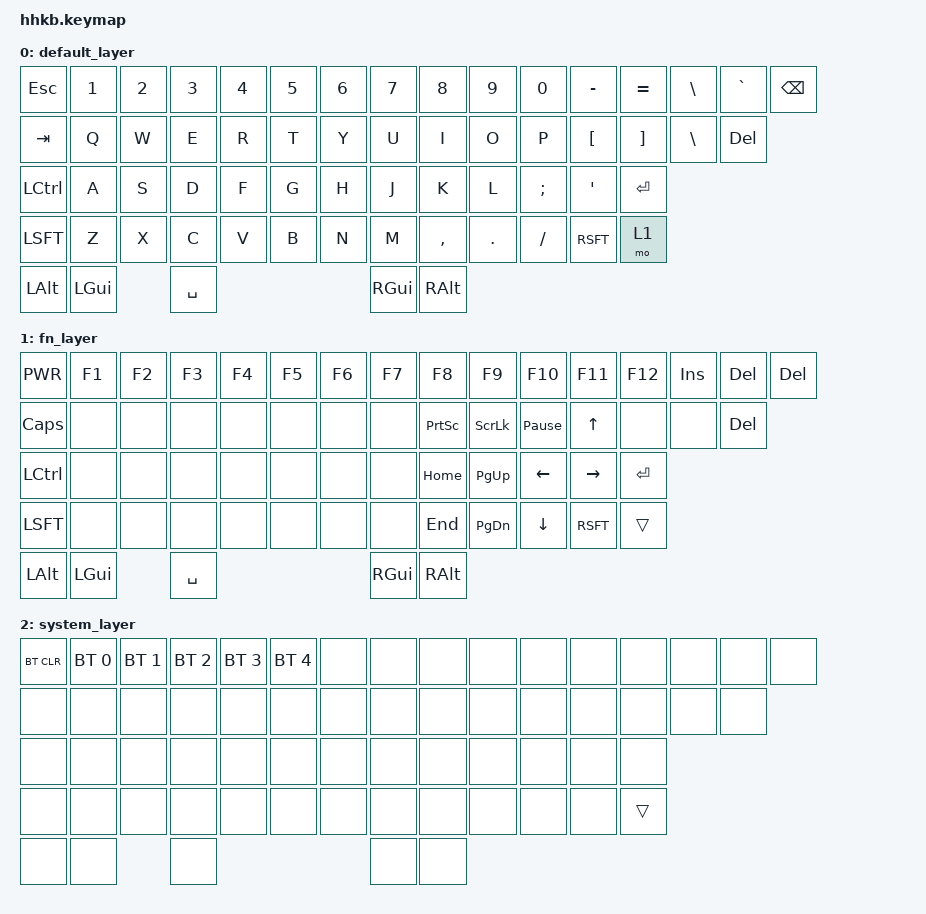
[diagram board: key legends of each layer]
/*
 * SPDX-License-Identifier: MIT
 *
 * HHKB Professional 2 / Professional BT 标准配列
 *
 * 物理布局（5行 x 15列，不含空格行）：
 *
 *  Row 0: Esc  1    2    3    4    5    6    7    8    9    0    -    =    \    `~   Del
 *         (Power)(F1) (F2) (F3) (F4) (F5) (F6) (F7) (F8) (F9) (F10)(F11)(F12)(Ins)
 *
 *  Row 1: Tab  Q    W    E    R    T    Y    U    I    O    P    [    ]    \    Del
 *         (Caps)                                      (PSc) (Scr) (Pau) (BS/Clear)
 *
 *  Row 2: Ctl  A    S    D    F    G    H    J    K    L    ;    '    Return
 *         (VolOn)(VolUp)(Mute)(Eject)                (*) (/)  (Home)(PgUp)
 *
 *  Row 3: Sft  Z    X    C    V    B    N    M    ,    .    /    Sft  Fn
 *                                             (<) (>) (?)      (End)(PgDn)(Stop)
 *
 *  Row 4: Alt  Cmd        Space         Cmd  Alt
 *         (Opt) (◆)      (6.25u)       (◆)  (Opt/Stop)
 *
 * 标注说明：
 *   - HHKB 左上角 Esc 同时是 Power 键
 *   - Tab 键帽上印了 Caps 字样（表示 HHKB 的经典 Control 位置）
 *   - 底部左右 Alt 标注为 "Opt"
 *   - 底部左右 Cmd 用菱形符号表示
 *
 * ZMK matrix: 5 rows x 15 columns (60 keys excluding Fn layer)
 */

#include <behaviors.dtsi>
#include <dt-bindings/zmk/keys.h>
#include <dt-bindings/zmk/modifiers.h>
#include <dt-bindings/zmk/bt.h>
#include <dt-bindings/zmk/outputs.h>

/ {
    keymap {
        compatible = "zmk,keymap";

        /* ==================== Layer 0: HHKB Default ====================
         * 标准 HHKB 配列
         * - Control 在 A 键左侧（传统 Caps Lock 位置）
         * - 退格键在右上角（Delete 位置）
         * - `~ 在退格键左侧
         * - \ 在 `~ 左侧
         * - 方向键通过 Fn 层访问
         */
        default_layer {
            bindings = <
    &kp ESC    &kp N1   &kp N2   &kp N3   &kp N4   &kp N5   &kp N6   &kp N7   &kp N8   &kp N9   &kp N0   &kp MINUS &kp EQUAL &kp BSLH &kp GRAVE &kp BSPC
    &kp TAB    &kp Q    &kp W    &kp E    &kp R    &kp T    &kp Y    &kp U    &kp I    &kp O    &kp P    &kp LBKT  &kp RBKT  &kp BSLH &kp DEL
    &kp LCTL   &kp A    &kp S    &kp D    &kp F    &kp G    &kp H    &kp J    &kp K    &kp L    &kp SEMI &kp SQT   &kp RET
    &kp LSFT   &kp Z    &kp X    &kp C    &kp V    &kp B    &kp N    &kp M    &kp COMMA &kp DOT &kp FSLH &kp RSFT  &mo 1
    &kp LALT   &kp LGUI          &kp SPACE                            &kp RGUI  &kp RALT
            >;
        };

        /* ==================== Layer 1: Fn / HHKB Functions ====================
         * HHKB 的 Fn 层功能：
         * - F1-F12：配合数字键使用
         * - 方向键：[/]/'/; 位置
         * - 多媒体：音量控制、静音等
         * - 电源：Esc 位置
         * - 截图/滚动锁定：P 键周围
         */
        fn_layer {
            bindings = <
    &kp PWR    &kp F1   &kp F2   &kp F3   &kp F4   &kp F5   &kp F6   &kp F7   &kp F8   &kp F9   &kp F10  &kp F11   &kp F12   &kp INS   &kp DEL  &kp DEL
    &kp CLCK   &none    &none    &none    &none    &none    &none    &none    &kp PSCRN &kp SLCK &kp PAUSE_BREAK &kp UP    &none     &none     &kp DEL
    &kp LCTL   &none    &none    &none    &none    &none    &none    &none    &kp HOME  &kp PG_UP &kp LEFT &kp RIGHT &kp RET
    &kp LSFT   &none    &none    &none    &none    &none    &none    &none    &kp END   &kp PG_DN &kp DOWN &kp RSFT  &trans
    &kp LALT   &kp LGUI          &kp SPACE                            &kp RGUI  &kp RALT
            >;
        };

        /* ==================== Layer 2: Additional Functions ====================
         * 扩展功能层（可选）：
         * - 蓝牙设备切换
         * - 重置/DFU
         * - 特殊功能
         */
        system_layer {
            bindings = <
    &bt BT_CLR &bt BT_SEL 0 &bt BT_SEL 1 &bt BT_SEL 2 &bt BT_SEL 3 &bt BT_SEL 4 &none &none &none &none &none &none &none &none &none &none
    &none      &none    &none    &none    &none    &none    &none    &none    &none    &none    &none    &none    &none    &none    &none
    &none      &none    &none    &none    &none    &none    &none    &none    &none    &none    &none    &none    &none
    &none      &none    &none    &none    &none    &none    &none    &none    &none    &none    &none    &none    &trans
    &none      &none             &none                                &none     &none
            >;
        };
    };
};
